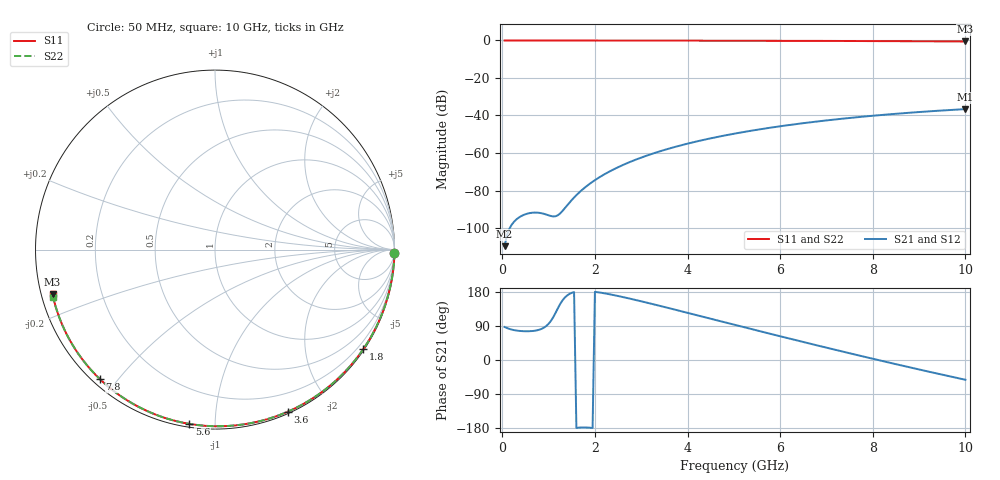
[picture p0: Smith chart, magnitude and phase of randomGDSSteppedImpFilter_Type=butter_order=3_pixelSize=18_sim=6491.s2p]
! freq	dB(S11)	phase(S11)	dB(S12)	phase(S12)
!  dB(S21)	phase(S21)	dB(S22)	phase(S22)
!S-par simulation data
#  GHz  S  DB  R 50
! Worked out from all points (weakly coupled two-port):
!   200 points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, 50 MHz to 10 GHz, reference 50 ohm
!   highest |S21| = -36.61 dB at 10 GHz (marker M1); lowest = -109.7 dB at 50 MHz (marker M2)
!   lowest |S11| = -0.5 dB at 10 GHz (marker M3), VSWR 31.68, Z = 1.61 - j6.76 ohm
!   |S11| at or under -10 dB: nowhere
!   |S22| runs from -0.5 to 0.0 dB; largest |S21 - S12| = 0
!   S11 on the Smith chart (normalised r, x): 50 MHz: open; 1.8 GHz: 0.03, -3.28; 3.6 GHz: 0.02, -1.55; 5.6 GHz: 0.02, -0.86; 7.8 GHz: 0.02, -0.45; 10 GHz: 0.03, -0.14
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0.05  -0.00 -1.0  -109.68 87.1  -109.68 87.1  -0.00 -1.0
0.45  -0.01 -8.6  -93.15 76.0  -93.15 76.0  -0.01 -8.6
0.85  -0.02 -16.2  -92.13 82.3  -92.13 82.3  -0.02 -16.2
1.7  -0.04 -32.0  -80.16 -178.0  -80.16 -178.0  -0.04 -32.1
1.75  -0.04 -33.0  -79.09 -177.9  -79.09 -177.9  -0.04 -33.0
1.8  -0.04 -33.9  -78.08 -178.0  -78.08 -178.0  -0.04 -33.9
1.95  -0.05 -36.6  -75.32 -179.4  -75.32 -179.4  -0.05 -36.7
2.1  -0.05 -39.4  -72.90 178.1  -72.90 178.1  -0.05 -39.4
2.3  -0.05 -43.0  -70.07 173.9  -70.07 173.9  -0.06 -43.0
2.5  -0.06 -46.6  -67.58 168.9  -67.58 168.9  -0.06 -46.6
2.9  -0.07 -53.7  -63.38 157.8  -63.38 157.8  -0.07 -53.7
3.4  -0.08 -62.4  -59.13 143.0  -59.13 143.0  -0.08 -62.5
3.6  -0.09 -65.8  -57.65 136.8  -57.65 136.8  -0.09 -65.9
4.3  -0.11 -77.6  -53.26 115.2  -53.26 115.2  -0.11 -77.6
5.05  -0.14 -89.7  -49.51 91.8  -49.51 91.8  -0.14 -89.8
5.6  -0.16 -98.4  -47.23 74.9  -47.23 74.9  -0.16 -98.5
6.15  -0.19 -106.9  -45.24 58.1  -45.24 58.1  -0.19 -106.9
6.7  -0.22 -115.2  -43.49 41.5  -43.49 41.5  -0.22 -115.2
7.8  -0.31 -131.6  -40.59 9.0  -40.59 9.0  -0.31 -131.5
8.35  -0.36 -139.7  -39.39 -6.8  -39.39 -6.8  -0.36 -139.5
9.2  -0.45 -152.3  -37.82 -30.6  -37.82 -30.6  -0.44 -151.9
10  -0.55 -164.6  -36.61 -52.1  -36.61 -52.1  -0.54 -163.8
